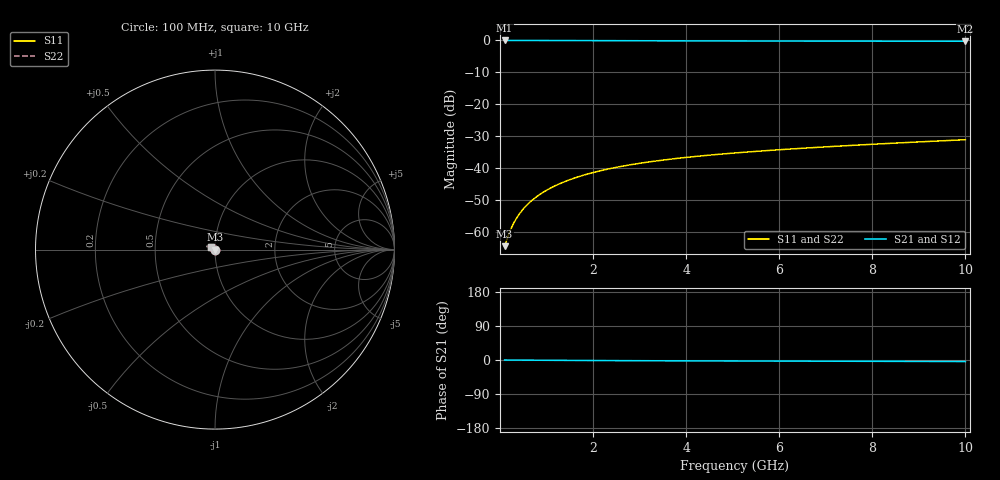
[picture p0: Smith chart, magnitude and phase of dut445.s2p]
! Touchstone file exported from HFSS 2024.1.0
!  File:  C:/UserFiles/LocalFiles/RDL_TSV_Batchsim/temp_TSV1_445_1779695823.aedt
!  Generated:  04:05:08 PM May 25, 2026
!  Design:  TSV1
!  Project:  temp_TSV1_445_1779695823
!  Setup:  Setup1
!  Solution:  Sweep
! Variables:
!  dtsv = 5.29um
!  hbump = 3um
!  htsv = 57.97um
!  lrdl = 252.1521522um
!  p = 40
!  p1 = 43.15um
!  t = 500um
!  trdl = 3um
!  wrdl = 24.89489489um
# GHz S MA R 50.000000
! Terminal data exported
! Port[1] = TSV22_T1
! Port[2] = TSV22_T2
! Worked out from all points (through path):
!   100 points, 100 MHz to 10 GHz, reference 50 ohm
!   highest |S21| = 0.00 dB at 100 MHz (marker M1); lowest = -0.2 dB at 10 GHz (marker M2)
!   lowest |S11| = -64.3 dB at 100 MHz (marker M3), VSWR 1.00, Z = 50 - j0.0465 ohm
!   |S11| at or under -10 dB: start of sweep to end of sweep
!   |S22| runs from -64.3 to -31.1 dB; largest |S21 - S12| = 4e-15
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0.1  0.0006063 -50.1  0.9996 -0.1  0.9996 -0.1  0.0006063 -50.1
! Gamma 0 0 0 0
! Port Impedance 50 0 50 0
0.2  0.0009888 -70.4  0.9995 -0.2  0.9995 -0.2  0.0009888 -70.4
0.3  0.001418 -80.3  0.9994 -0.2  0.9994 -0.2  0.001418 -80.3
0.4  0.001863 -86.4  0.9993 -0.3  0.9993 -0.3  0.001863 -86.4
0.5  0.002313 -91.0  0.9991 -0.4  0.9991 -0.4  0.002313 -91.0
0.6  0.002763 -94.6  0.9989 -0.5  0.9989 -0.5  0.002763 -94.6
0.7  0.003212 -97.8  0.9987 -0.5  0.9987 -0.5  0.003212 -97.8
0.8  0.003658 -100.7  0.9984 -0.6  0.9984 -0.6  0.003658 -100.7
0.9  0.0041 -103.3  0.9982 -0.7  0.9982 -0.7  0.0041 -103.3
1.1  0.004969 -108.2  0.9975 -0.8  0.9975 -0.8  0.004969 -108.2
1.4  0.006232 -115.0  0.9964 -1.0  0.9964 -1.0  0.006232 -115.0
1.6  0.007043 -119.1  0.9956 -1.1  0.9956 -1.1  0.007043 -119.1
1.8  0.007828 -123.2  0.9948 -1.3  0.9948 -1.3  0.007828 -123.2
2.1  0.008954 -128.9  0.9934 -1.4  0.9934 -1.4  0.008954 -128.9
2.5  0.01036 -136.0  0.9915 -1.6  0.9915 -1.6  0.01036 -136.0
2.9  0.01167 -142.7  0.9897 -1.8  0.9897 -1.8  0.01167 -142.7
3.4  0.01317 -150.4  0.9874 -2.0  0.9874 -2.0  0.01317 -150.4
4.2  0.01533 -161.3  0.9841 -2.3  0.9841 -2.3  0.01533 -161.3
5.1  0.0175 -171.9  0.981 -2.6  0.981 -2.6  0.0175 -171.9
6.7  0.02103 172.8  0.9769 -3.1  0.9769 -3.1  0.02103 172.8
8.4  0.02461 160.3  0.974 -3.6  0.974 -3.6  0.02461 160.3
10  0.02802 151.1  0.9719 -4.0  0.9719 -4.0  0.02802 151.1
